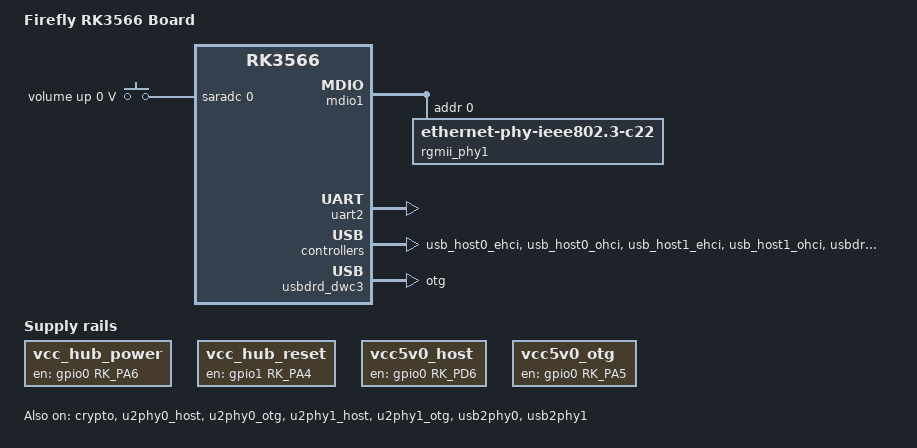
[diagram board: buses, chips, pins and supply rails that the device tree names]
/*
 * SPDX-License-Identifier:     GPL-2.0+
 *
 * (C) Copyright 2020 Rockchip Electronics Co., Ltd
 */

/dts-v1/;
#include "rk3568.dtsi"
#include "rk3568-u-boot.dtsi"
#include <dt-bindings/input/input.h>

/ {
	model = "Firefly RK3566 Board";
	compatible = "firefly,firefly-rk3566", "rockchip,rk3566";

	adc-keys {
		compatible = "adc-keys";
		io-channels = <&saradc 0>;
		io-channel-names = "buttons";
		keyup-threshold-microvolt = <1800000>;
		u-boot,dm-spl;
		status = "okay";

		volumeup-key {
			u-boot,dm-spl;
			linux,code = <KEY_VOLUMEUP>;
			label = "volume up";
			press-threshold-microvolt = <9>;
		};
	};

	vcc_hub_power: vcc-hub-power-regulator {
		compatible = "regulator-fixed";
		enable-active-high;
		gpio = <&gpio0 RK_PA6 GPIO_ACTIVE_HIGH>;
		pinctrl-names = "default";
		pinctrl-0 = <&vcc_hub_power_en>;
		regulator-name = "vcc_hub_power_en";
		regulator-always-on;
	};

	vcc_hub_reset: vcc-hub-reset-regulator {
		compatible = "regulator-fixed";
		enable-active-high;
		gpio = <&gpio1 RK_PA4 GPIO_ACTIVE_HIGH>;
		pinctrl-names = "default";
		pinctrl-0 = <&vcc_hub_reset_en>;
		regulator-name = "vcc_hub_reset_en";
		regulator-always-off;
	};

	vcc5v0_host: vcc5v0-host-regulator {
		compatible = "regulator-fixed";
		enable-active-high;
		gpio = <&gpio0 RK_PD6 GPIO_ACTIVE_HIGH>;
		pinctrl-names = "default";
		pinctrl-0 = <&vcc5v0_host_en>;
		regulator-name = "vcc5v0_host";
		regulator-always-on;
	};

	vcc5v0_otg: vcc5v0-otg-regulator {
		compatible = "regulator-fixed";
		enable-active-high;
		gpio = <&gpio0 RK_PA5 GPIO_ACTIVE_HIGH>;
		pinctrl-names = "default";
		pinctrl-0 = <&vcc5v0_otg_en>;
		regulator-name = "vcc5v0_otg";
		regulator-always-on;
	};
};

&gmac1 {
	phy-mode = "rgmii";
	clock_in_out = "output";

	snps,reset-gpio = <&gpio2 RK_PD1 GPIO_ACTIVE_LOW>;
	snps,reset-active-low;
	/* Reset time is 20ms, 100ms for rtl8211f */
	snps,reset-delays-us = <0 20000 100000>;

	assigned-clocks = <&cru SCLK_GMAC1_RX_TX>, <&cru SCLK_GMAC1>;
	assigned-clock-parents = <&cru SCLK_GMAC1_RGMII_SPEED>;
	assigned-clock-rates = <0>, <125000000>;

	pinctrl-names = "default";
	pinctrl-0 = <&gmac1m1_miim
		     &gmac1m1_tx_bus2
		     &gmac1m1_rx_bus2
		     &gmac1m1_rgmii_clk
		     &gmac1m1_rgmii_bus>;

	tx_delay = <0x4f>;
	rx_delay = <0x26>;

	phy-handle = <&rgmii_phy1>;
	status = "disabled";
};

&mdio1 {
	rgmii_phy1: phy@0 {
		compatible = "ethernet-phy-ieee802.3-c22";
		reg = <0x0>;
	};
};

&pinctrl {
	usb {
		vcc_hub_power_en: vcc-hub-power-en {
			rockchip,pins = <0 RK_PA6 RK_FUNC_GPIO &pcfg_pull_none>;
		};

		vcc_hub_reset_en: vcc-hub-reset-en {
			rockchip,pins = <1 RK_PA4 RK_FUNC_GPIO &pcfg_pull_none>;
		};

		vcc5v0_host_en: vcc5v0-host-en {
			rockchip,pins = <0 RK_PD6 RK_FUNC_GPIO &pcfg_pull_none>;
		};

		vcc5v0_otg_en: vcc5v0-otg-en {
			rockchip,pins = <0 RK_PA5 RK_FUNC_GPIO &pcfg_pull_none>;
		};
	};
};

&crypto {
	status = "okay";
};

&uart2 {
	status = "okay";
};

&u2phy0_host {
	phy-supply = <&vcc5v0_host>;
	status = "okay";
};

&u2phy0_otg {
	vbus-supply = <&vcc5v0_otg>;
	status = "okay";
};

&u2phy1_host {
	phy-supply = <&vcc5v0_host>;
	status = "okay";
};

&u2phy1_otg {
	phy-supply = <&vcc5v0_host>;
	status = "okay";
};

&usb2phy0 {
	status = "okay";
};

&usb2phy1 {
	status = "okay";
};

&usb_host0_ehci {
	status = "okay";
};

&usb_host0_ohci {
	status = "okay";
};

&usb_host1_ehci {
	status = "okay";
};

&usb_host1_ohci {
	status = "okay";
};

&usbdrd_dwc3 {
	dr_mode = "otg";
	extcon = <&usb2phy0>;
	status = "okay";
};

&usbdrd30 {
	status = "okay";
};

&usbhost_dwc3 {
	status = "okay";
};

&usbhost30 {
	status = "okay";
};
